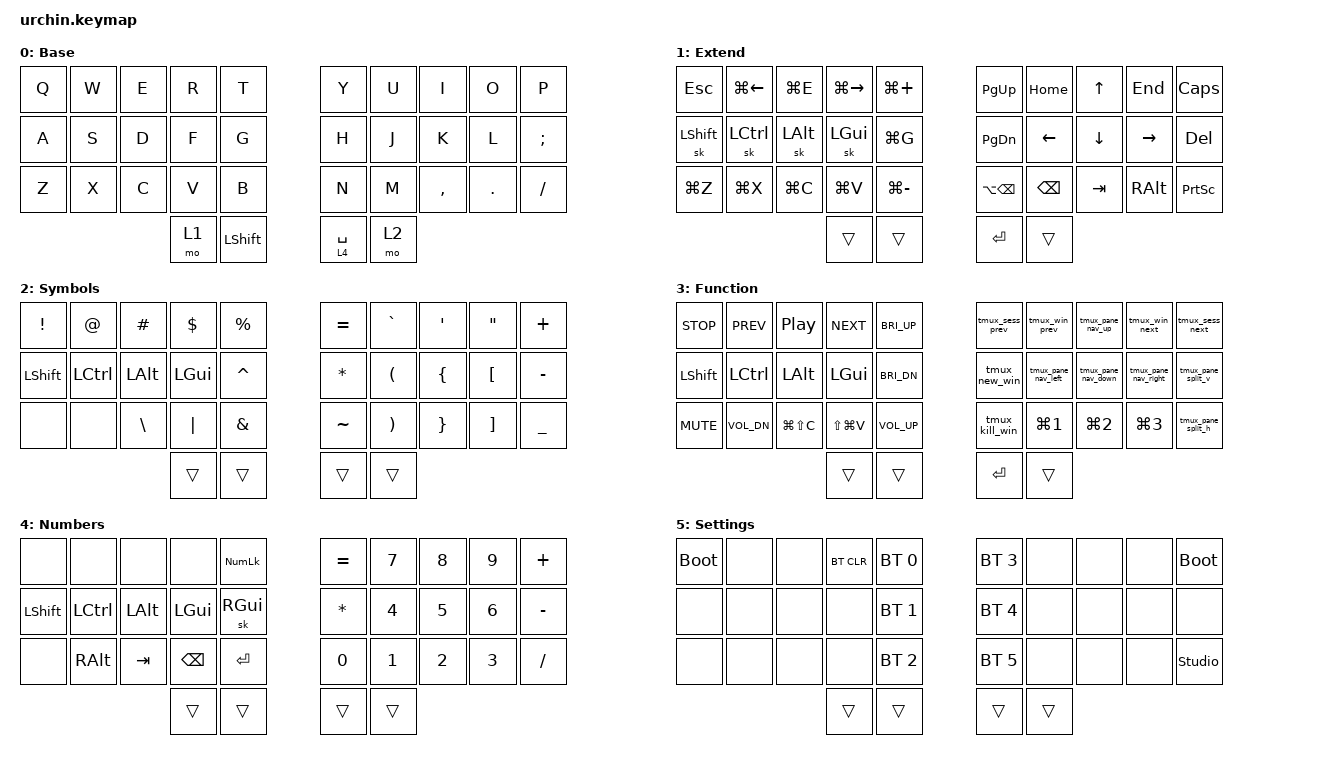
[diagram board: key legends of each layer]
/*
 * Copyright (c) 2020 duckyb
 *
 * SPDX-License-Identifier: MIT
 */

#include <behaviors.dtsi>
#include <dt-bindings/zmk/bt.h>
#include <dt-bindings/zmk/keys.h>

// Layer definitions

#define BASE 0
#define EXT 1
#define SYM 2
#define FNC 3
#define NUM 4
#define SETTINGS 5

// -----------------

&sk {
    // don't release mods on other mods presses

    ignore-modifiers;
};

&lt {
    flavor = "hold-preferred";
    tapping-term-ms = <200>;
    hold-while-undecided;
    hold-trigger-key-positions = <25 26 27 28 16 17 18 6 7 8 14 10 11 12 13 5 19>;
};

/ {
    behaviors {
        // Enables holding the first mod-tap key
        // by performing a tap-release-hold sequence.
        // To use it: "&qt KEYCODE1 KEYCODE2"

        qt: quick_tap {
            compatible = "zmk,behavior-hold-tap";
            label = "QUICK_TAP";
            #binding-cells = <2>;
            flavor = "hold-preferred";
            tapping-term-ms = <200>;
            quick-tap-ms = <200>;
            bindings = <&kp>, <&kp>;
        };
    };

    macros {
        // sometimes my device thinks a modifier is being held down
        // pressing all modifiers fixes it.

        unstick: unstick {
            label = "ZM_unstick";
            compatible = "zmk,behavior-macro";
            #binding-cells = <0>;
            bindings = <&kp LSHIFT &kp RSHIFT &kp LCTRL &kp RCTRL &kp LALT &kp RALT &kp LGUI &kp RGUI>;
        };

        tmux_win_prev: tmux_win_prev {
            compatible = "zmk,behavior-macro";
            #binding-cells = <0>;
            bindings = <&macro_tap>, <&kp LC(B)>, <&macro_tap>, <&kp R>;

            label = "TMUX_WIN_PREV";
        };

        tmux_win_next: tmux_win_next {
            compatible = "zmk,behavior-macro";
            #binding-cells = <0>;
            bindings = <&macro_tap>, <&kp LC(B)>, <&macro_tap>, <&kp J>;

            label = "TMUX_WIN_NEXT";
        };

        tmux_new_win: tmux_new_win {
            compatible = "zmk,behavior-macro";
            #binding-cells = <0>;
            bindings = <&macro_tap>, <&kp LC(B)>, <&macro_tap>, <&kp C>;

            label = "TMUX_NEW_WIN";
        };

        tmux_sess_prev: tmux_sess_prev {
            compatible = "zmk,behavior-macro";
            #binding-cells = <0>;
            bindings = <&macro_tap>, <&kp LC(B)>, <&macro_tap>, <&kp LPAR>;

            label = "TMUX_SESS_PREV";
        };

        tmux_sess_next: tmux_sess_next {
            compatible = "zmk,behavior-macro";
            #binding-cells = <0>;
            bindings = <&macro_tap>, <&kp LC(B)>, <&macro_tap>, <&kp RPAR>;

            label = "TMUX_SESS_NEXT";
        };

        tmux_pane_split_v: tmux_pane_split_v {
            compatible = "zmk,behavior-macro";
            #binding-cells = <0>;
            bindings = <&macro_tap>, <&kp LC(B)>, <&macro_tap>, <&kp PERCENT>;

            label = "TMUX_PANE_SPLIT_V";
        };

        tmux_pane_split_h: tmux_pane_split_h {
            compatible = "zmk,behavior-macro";
            #binding-cells = <0>;
            bindings = <&macro_tap>, <&kp LC(B)>, <&macro_tap>, <&kp DQT>;

            label = "TMUX_PANE_SPLIT_H";
        };

        tmux_kill_win: tmux_kill_win {
            compatible = "zmk,behavior-macro";
            #binding-cells = <0>;
            bindings = <&macro_tap>, <&kp LC(B)>, <&macro_tap>, <&kp AMPERSAND>;

            label = "TMUX_KILL_WIN";
        };

        tmux_copy_mode: tmux_copy_mode {
            compatible = "zmk,behavior-macro";
            #binding-cells = <0>;
            bindings = <&macro_tap>, <&kp LC(B)>, <&macro_tap>, <&kp LBKT>;

            label = "TMUX_COPY_MODE";
        };

        tmux_pane_nav_up: tmux_pane_nav_up {
            compatible = "zmk,behavior-macro";
            #binding-cells = <0>;
            bindings = <&macro_tap>, <&kp LC(B)>, <&macro_tap>, <&kp UP>;

            label = "TMUX_PANE_NAV_UP";
        };

        tmux_pane_nav_down: tmux_pane_nav_down {
            compatible = "zmk,behavior-macro";
            #binding-cells = <0>;
            bindings = <&macro_tap>, <&kp LC(B)>, <&macro_tap>, <&kp DOWN>;

            label = "TMUX_PANE_NAV_DOWN";
        };

        tmux_pane_nav_left: tmux_pane_nav_left {
            compatible = "zmk,behavior-macro";
            #binding-cells = <0>;
            bindings = <&macro_tap>, <&kp LC(B)>, <&macro_tap>, <&kp LEFT>;

            label = "TMUX_PANE_NAV_LEFT";
        };

        tmux_pane_nav_right: tmux_pane_nav_right {
            compatible = "zmk,behavior-macro";
            #binding-cells = <0>;
            bindings = <&macro_tap>, <&kp LC(B)>, <&macro_tap>, <&kp RIGHT>;

            label = "TMUX_PANE_NAV_RIGHT";
        };
    };

    combos {
        compatible = "zmk,combos";

        // both left thumb keys

        combo_settings {
            timeout-ms = <200>;
            key-positions = <30 31>;
            bindings = <&mo 5>;
        };

        // both outer thumb keys - Function layer
        // Shift and Symbols keys - Numbers layer
    };

    keymap {
        compatible = "zmk,keymap";

        // Base alpha layer - Colemak-DH

        default_layer {
            label = "Base";
            bindings = <
&kp Q  &kp W  &kp E  &kp R  &kp T       &kp Y        &kp U  &kp I      &kp O       &kp P
&kp A  &kp S  &kp D  &kp F  &kp G       &kp H        &kp J  &kp K      &kp L       &kp SEMICOLON
&kp Z  &kp X  &kp C  &kp V  &kp B       &kp N        &kp M  &kp COMMA  &kp PERIOD  &kp FSLH
                     &mo 1  &kp LSHIFT  &lt 4 SPACE  &mo 2
            >;
        };

        ext_layer {
            label = "Extend";
            bindings = <
&kp ESC     &kp LG(LEFT)  &kp LG(E)  &kp LG(RIGHT)  &kp LG(PLUS)   &kp PG_UP          &kp HOME  &kp UP    &kp END    &kp CAPS
&sk LSHIFT  &sk LCTRL     &sk LALT   &sk LGUI       &kp LG(G)      &kp PG_DN          &kp LEFT  &kp DOWN  &kp RIGHT  &kp DELETE
&kp LG(Z)   &kp LG(X)     &kp LG(C)  &kp LG(V)      &kp LG(MINUS)  &kp LA(BACKSPACE)  &kp BSPC  &kp TAB   &kp RALT   &kp PRINTSCREEN
                                     &trans         &trans         &kp ENTER          &trans
            >;
        };

        sym_layer {
            label = "Symbols";
            bindings = <
&kp EXCL    &kp AT     &kp HASH  &kp DLLR  &kp PRCNT  &kp EQUAL  &kp GRAVE  &kp APOS  &kp DOUBLE_QUOTES  &kp PLUS
&kp LSHIFT  &kp LCTRL  &kp LALT  &kp LGUI  &kp CARET  &kp STAR   &kp LPAR   &kp LBRC  &kp LBKT           &kp MINUS
&none       &none      &kp BSLH  &kp PIPE  &kp AMPS   &kp TILDE  &kp RPAR   &kp RBRC  &kp RBKT           &kp UNDER
                                 &trans    &trans     &trans     &trans
            >;
        };

        fnc_layer {
            label = "Function";
            bindings = <
&kp C_STOP  &kp C_PREV    &kp C_PP       &kp C_NEXT     &kp C_BRI_UP     &tmux_sess_prev  &tmux_win_prev       &tmux_pane_nav_up    &tmux_win_next        &tmux_sess_next
&kp LSHIFT  &kp LCTRL     &kp LALT       &kp LGUI       &kp C_BRI_DN     &tmux_new_win    &tmux_pane_nav_left  &tmux_pane_nav_down  &tmux_pane_nav_right  &tmux_pane_split_v
&kp C_MUTE  &kp C_VOL_DN  &kp LG(LS(C))  &kp LS(LG(V))  &kp C_VOLUME_UP  &tmux_kill_win   &kp LG(NUMBER_1)     &kp LG(NUMBER_2)     &kp LG(NUMBER_3)      &tmux_pane_split_h
                                         &trans         &trans           &kp ENTER        &trans
            >;
        };

        num_layer {
            label = "Numbers";
            bindings = <
&none       &none      &none     &none     &kp KP_NUMLOCK  &kp EQUAL  &kp N7  &kp N8  &kp N9  &kp PLUS
&kp LSHIFT  &kp LCTRL  &kp LALT  &kp LGUI  &sk RGUI        &kp STAR   &kp N4  &kp N5  &kp N6  &kp MINUS
&none       &kp RALT   &kp TAB   &kp BSPC  &kp ENTER       &kp N0     &kp N1  &kp N2  &kp N3  &kp FSLH
                                 &trans    &trans          &trans     &trans
            >;
        };

        settings_layer {
            label = "Settings";
            bindings = <
&bootloader  &none  &none  &bt BT_CLR  &bt BT_SEL 0  &bt BT_SEL 3  &none   &none  &none  &bootloader
&none        &none  &none  &none       &bt BT_SEL 1  &bt BT_SEL 4  &none   &none  &none  &none
&none        &none  &none  &none       &bt BT_SEL 2  &bt BT_SEL 5  &none   &none  &none  &studio_unlock
                           &trans      &trans        &trans        &trans
            >;
        };
    };

    conditional_layers {
        compatible = "zmk,conditional-layers";

        ext_sym_to_fnc {
            if-layers = <1 2>;
            then-layer = <3>;
        };
    };
};
